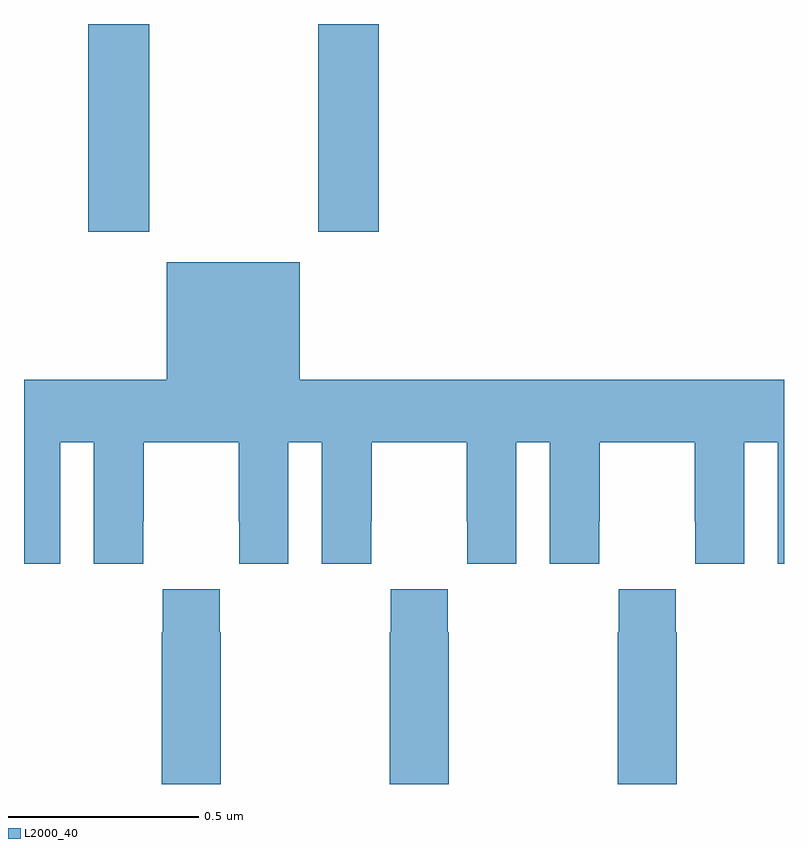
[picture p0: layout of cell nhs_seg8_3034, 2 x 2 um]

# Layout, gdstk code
import gdstk
lib = gdstk.Library(unit=1e-6, precision=1e-09)
def R(c, l, rs):  # rectangles x0, y0, x1, y1
    for r in rs: c.add(gdstk.rectangle(r[:2], r[2:], *l))
def P(c, l, *ps):  # polygons
    for p in ps: c.add(gdstk.Polygon(p, *l))
L2000_40 = (2000, 40)

nhs_seg8_3034 = lib.new_cell('nhs_seg8_3034')
R(nhs_seg8_3034, L2000_40, [(151.169,1150.353,151.329,1150.9), (151.774,1150.353,151.934,1150.9)])
P(nhs_seg8_3034, L2000_40, [(151.376,1149.964),(151,1149.964),(151,1149.48),(151.096,1149.48),(151.096,1149.8),(151.184,1149.8),(151.184,1149.48),(151.314,1149.48),(151.314,1149.592),(151.315,1149.592),(151.315,1149.8),(151.565,1149.8),(151.565,1149.592),(151.566,1149.592),(151.566,1149.48),(151.696,1149.48),(151.696,1149.8),(151.784,1149.8),(151.784,1149.48),(151.914,1149.48),(151.914,1149.592),(151.915,1149.592),(151.915,1149.8),(152.165,1149.8),(152.165,1149.592),(152.166,1149.592),(152.166,1149.48),(152.296,1149.48),(152.296,1149.8),(152.384,1149.8),(152.384,1149.48),(152.514,1149.48),(152.514,1149.592),(152.515,1149.592),(152.515,1149.8),(152.765,1149.8),(152.765,1149.592),(152.766,1149.592),(152.766,1149.48),(152.896,1149.48),(152.896,1149.8),(152.984,1149.8),(152.984,1149.48),(153,1149.48),(153,1149.964),(151.726,1149.964),(151.726,1150.273),(151.376,1150.273)],
  [(151.518,1149.299),(151.515,1149.299),(151.515,1149.412),(151.365,1149.412),(151.365,1149.299),(151.363,1149.299),(151.363,1148.9),(151.518,1148.9)],
  [(152.118,1149.299),(152.115,1149.299),(152.115,1149.412),(151.965,1149.412),(151.965,1149.299),(151.963,1149.299),(151.963,1148.9),(152.118,1148.9)],
  [(152.718,1149.299),(152.715,1149.299),(152.715,1149.412),(152.565,1149.412),(152.565,1149.299),(152.563,1149.299),(152.563,1148.9),(152.718,1148.9)])

lib.write_gds('nhs_seg8_3034.gds')
